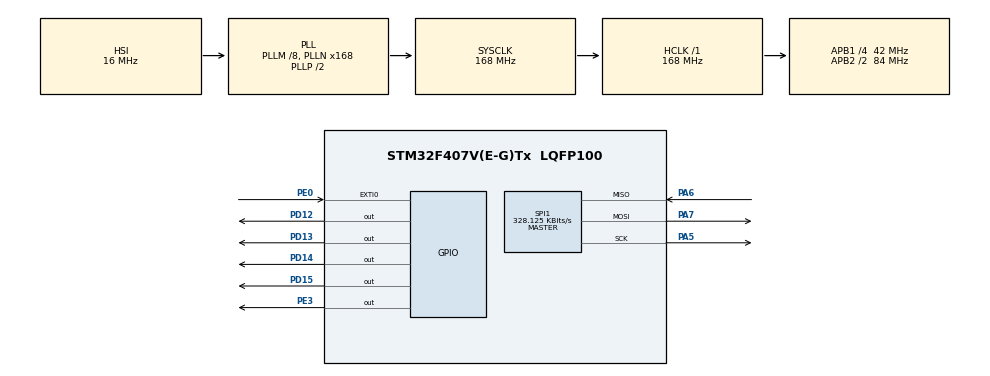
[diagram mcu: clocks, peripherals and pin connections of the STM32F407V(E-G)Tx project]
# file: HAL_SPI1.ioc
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Mcu.Family=STM32F4
Mcu.Name=STM32F407V(E-G)Tx
Mcu.Package=LQFP100
NVIC.EXTI0_IRQn=true\:0\:0\:false\:false\:false\:true
NVIC.PriorityGroup=NVIC_PRIORITYGROUP_4
PA5.Mode=Full_Duplex_Master
PA5.Signal=SPI1_SCK
PA6.Mode=Full_Duplex_Master
PA6.Signal=SPI1_MISO
PA7.Mode=Full_Duplex_Master
PA7.Signal=SPI1_MOSI
PD12.Signal=GPIO_Output
PD13.Signal=GPIO_Output
PD14.Signal=GPIO_Output
PD15.Signal=GPIO_Output
PE0.Signal=GPXTI0
PE3.Signal=GPIO_Output
ProjectManager.HeapSize=0x200
ProjectManager.StackSize=0x400
ProjectManager.TargetToolchain=MDK-ARM V5
RCC.48MHZClocksFreq_Value=84000000
RCC.AHBFreq_Value=168000000
RCC.APB1CLKDivider=RCC_HCLK_DIV4
RCC.APB1Freq_Value=42000000
RCC.APB1TimFreq_Value=84000000
RCC.APB2CLKDivider=RCC_HCLK_DIV2
RCC.APB2Freq_Value=84000000
RCC.APB2TimFreq_Value=168000000
RCC.CortexFreq_Value=168000000
RCC.HCLKFreq_Value=168000000
RCC.HSE_VALUE=25000000
RCC.HSI_VALUE=16000000
RCC.LSE_VALUE=32768
RCC.PLLM=8
RCC.PLLN=168
RCC.SYSCLKFreq_VALUE=168000000
RCC.SYSCLKSource=RCC_SYSCLKSOURCE_PLLCLK
RCC.VCOOutputFreq_Value=336000000
SPI1.BaudRatePrescaler=SPI_BAUDRATEPRESCALER_256
SPI1.CLKPhase=SPI_PHASE_2EDGE
SPI1.CLKPolarity=SPI_POLARITY_HIGH
SPI1.CalculateBaudRate=328.125 KBits/s
SPI1.DataSize=SPI_DATASIZE_8BIT
SPI1.Direction=SPI_DIRECTION_2LINES
SPI1.Mode=SPI_MODE_MASTER
SPI1.VirtualType=VM_MASTER
board=custom

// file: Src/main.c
/* USER CODE BEGIN Header */
/**
  ******************************************************************************
  * @file           : main.c
  * @brief          : Main program body
  ******************************************************************************
  ** This notice applies to any and all portions of this file
  * that are not between comment pairs USER CODE BEGIN and
  * USER CODE END. Other portions of this file, whether
  * inserted by the user or by software development tools
  * are owned by their respective copyright owners.
  *
  * COPYRIGHT(c) 2019 STMicroelectronics
  *
  * Redistribution and use in source and binary forms, with or without modification,
  * are permitted provided that the following conditions are met:
  *   1. Redistributions of source code must retain the above copyright notice,
  *      this list of conditions and the following disclaimer.
  *   2. Redistributions in binary form must reproduce the above copyright notice,
  *      this list of conditions and the following disclaimer in the documentation
  *      and/or other materials provided with the distribution.
  *   3. Neither the name of STMicroelectronics nor the names of its contributors
  *      may be used to endorse or promote products derived from this software
  *      without specific prior written permission.
  *
  * THIS SOFTWARE IS PROVIDED BY THE COPYRIGHT HOLDERS AND CONTRIBUTORS "AS IS"
  * AND ANY EXPRESS OR IMPLIED WARRANTIES, INCLUDING, BUT NOT LIMITED TO, THE
  * IMPLIED WARRANTIES OF MERCHANTABILITY AND FITNESS FOR A PARTICULAR PURPOSE ARE
  * DISCLAIMED. IN NO EVENT SHALL THE COPYRIGHT HOLDER OR CONTRIBUTORS BE LIABLE
  * FOR ANY DIRECT, INDIRECT, INCIDENTAL, SPECIAL, EXEMPLARY, OR CONSEQUENTIAL
  * DAMAGES (INCLUDING, BUT NOT LIMITED TO, PROCUREMENT OF SUBSTITUTE GOODS OR
  * SERVICES; LOSS OF USE, DATA, OR PROFITS; OR BUSINESS INTERRUPTION) HOWEVER
  * CAUSED AND ON ANY THEORY OF LIABILITY, WHETHER IN CONTRACT, STRICT LIABILITY,
  * OR TORT (INCLUDING NEGLIGENCE OR OTHERWISE) ARISING IN ANY WAY OUT OF THE USE
  * OF THIS SOFTWARE, EVEN IF ADVISED OF THE POSSIBILITY OF SUCH DAMAGE.
  *
  ******************************************************************************
  */
/* USER CODE END Header */

#include "main.h"

/* USER CODE BEGIN PD */
#define WHO_AM_I (0x0F)  // LIS3DSH register adresleri
#define CTRL_REG3 (0x23)
#define CTRL_REG4 (0x20)
#define CTRL_REG5 (0x24)
#define CTRL_REG6 (0x25)
#define FIFO_CTRL (0x2E)
#define OUT_X (0x29)
#define OUT_Y (0x2B)
#define OUT_Z (0x2D)
#define FIFO_SRC (0x2F)
#define INFO1 (0x0D)         // who_am_i gibi sabit degerli register.
/* USER CODE END PD */

SPI_HandleTypeDef hspi1;

int8_t x,y,z,t;
uint8_t status,status_1;

void SystemClock_Config(void);
static void MX_GPIO_Init(void);
static void MX_SPI1_Init(void);
/* USER CODE BEGIN PFP */
void SPI_LIS3DSH_Tx(uint8_t adr,uint8_t data)    //  7. bitin basina 0 degeri koyuyoruz ki okuma yapalim yani sadece adres degeri gidicek => WAAA AAAA       A=> Adres demek!  R=> Read W=>Write
{																																				     //Read için =>1 / Write için =>0 olmali MSB degeri.

HAL_GPIO_WritePin(GPIOE,GPIO_PIN_3,GPIO_PIN_RESET);  // Modulun CS pini haberlesmeyi baslatabilmesi çin Low yapiliyor.

HAL_SPI_Transmit(&hspi1,&adr,1,10); // &adr (Adresin bulundugu yerin adresini gönderdik.) , 1 byte , timeout (milisaniye)

HAL_SPI_Transmit(&hspi1,&data,1,10); // &data (adr'ye yazilacak olan data gönderilir.) , 1 byte , timeout (milisaniye)

HAL_GPIO_WritePin(GPIOE,GPIO_PIN_3,GPIO_PIN_SET);   // Yazma islemi gerçeklestigi için CS pini tekrar HIGH yapiliyor.

}

uint8_t SPI_LIS3DSH_Rx(uint8_t adr)
{

uint8_t rx=0;
adr|=0x80;  // 7. bitin basina 1 degeri koyuyoruz ki okuma yapalim  => RAAA AAAA    A=> Adres demek!  R=> Read W=>Write  |  Read için =>1 / Write için =>0 olmali MSB degeri.

HAL_GPIO_WritePin(GPIOE,GPIO_PIN_3,GPIO_PIN_RESET);   // Modulun CS pini haberlesmeyi baslatabilmesi çin LOW yapiliyor.

HAL_SPI_Transmit(&hspi1,&adr,1,10);       // &adr (Adresin bulundugu yerin adresini gönderdik.) , 1 byte , timeout (milisaniye)

HAL_SPI_Receive(&hspi1,&rx,1,10);      // &rx (rx'e adresten gelen deger kaydedilir.       // (gelen data rx'e yazilacak) , 1 byte , timeout (milisaniye)

HAL_GPIO_WritePin(GPIOE,GPIO_PIN_3,GPIO_PIN_SET);   // Yazma islemi gerçeklestigi için CS pini tekrar HIGH yapiliyor.

return rx;

}

void SPI_LIS3DSH_Init()
{

 SPI_LIS3DSH_Tx(CTRL_REG6,0x80);   // 0x80 yazilarak REBOOT(Yenidenbaslatma) YAPILDI.

 SPI_LIS3DSH_Tx(CTRL_REG3,1);  // 1 yazilarak yazilimsal reset atiliyor.

 HAL_Delay(100);

	if(SPI_LIS3DSH_Rx(INFO1)==0x21)     // haberlesmeyi test etmek için cevabi sabit olan who_am_i veya INFO adresi okunuyor.
	{
		SPI_LIS3DSH_Tx(CTRL_REG3,0x48);  // ctrl_reg3 adresine 0x48 degeri yazilarak Interrupt kutbu High yapiliyor ve INT1 pinin interrupt aktiflestirilmesi yapiliyor.

		SPI_LIS3DSH_Tx(CTRL_REG4,0x47); // ctrl_reg4 adresine 0x47 degeri yazilarak Çikis data ölçegi ayarlaniyor ve x,y,z, eksenleri aktiflestiriliyor.

		SPI_LIS3DSH_Tx(CTRL_REG5,0x48); // ctrl_reg5 adresine 0x48 degeri yazilarak tam ölçek secenegi ve filtre ayari yapiliyor.

		SPI_LIS3DSH_Tx(CTRL_REG6,0x64); // ctrl_reg6 adresine 0x64 degeri yazilarak FIFO ve FIFO derinligi ayarlanabildigi watermak secenegi aktiflestiriliyor.INT1 pini FIFO watermak interrupt secenegi aktiflestiriliyor

		SPI_LIS3DSH_Tx(FIFO_CTRL,0x41); // Fifo_ctrl adresine 0x41 degeri yazilarak FIFO akis modunda aktiflestiriliyor.
										//FIFO boyutu olan watermak degerine 1 giriliyor... Devami önemli KITAP=>556
                                     //		Stream mode. If the FIFO is full, the new sample overwrites the older one.
	}
}

/*  Bildigimiz üzere harici kesme herhangi bir pini(Bu özelligi olan pinler) High to low yada Low to high geçisini algilayarak olusturulan kesmeye denir.
    Bu pin logic konumda olmalidir.Ayarlarimiza göre bu pini lojik 0 dan lojik 1’E geçtigi anda kesme üretebilecek sekilde kontrol edebiliriz.
    Buton okuma islemi gibi düsünebiliriz ama butonu sürekli kontrol etmemize gerek yoktur çünkü herhangi bir geçiste otomatik kesme üretir
*/
void EXTI0_IRQHandler(void)    // INT1/DRDY' ye PE0 pini bagli tetikleme gelince pine interrupt üretecek!
{
	__HAL_GPIO_EXTI_CLEAR_IT(GPIO_PIN_0); //  ilgili bayragi temizledik.

	status= SPI_LIS3DSH_Rx(FIFO_SRC); // yorum idi

	x=SPI_LIS3DSH_Rx(OUT_X);

	y=SPI_LIS3DSH_Rx(OUT_Y);

	z=SPI_LIS3DSH_Rx(OUT_Z);

	 status_1=SPI_LIS3DSH_Rx(FIFO_SRC); // yorum idi

	if(x<-10) HAL_GPIO_WritePin(GPIOD,GPIO_PIN_12,GPIO_PIN_SET);
	else HAL_GPIO_WritePin(GPIOD,GPIO_PIN_12,GPIO_PIN_RESET);

	if(x>10) HAL_GPIO_WritePin(GPIOD,GPIO_PIN_14,GPIO_PIN_SET);
	else HAL_GPIO_WritePin(GPIOD,GPIO_PIN_14,GPIO_PIN_RESET);

	if(y<-10) HAL_GPIO_WritePin(GPIOD,GPIO_PIN_15,GPIO_PIN_SET);
	else HAL_GPIO_WritePin(GPIOD,GPIO_PIN_15,GPIO_PIN_RESET);

	if(y>10) HAL_GPIO_WritePin(GPIOD,GPIO_PIN_13,GPIO_PIN_SET);
	else HAL_GPIO_WritePin(GPIOD,GPIO_PIN_13,GPIO_PIN_RESET);

}
/* USER CODE END PFP */

int main(void)
{

  /* MCU Configuration--------------------------------------------------------*/

  /* Reset of all peripherals, Initializes the Flash interface and the Systick. */
  HAL_Init();

  /* Configure the system clock */
  SystemClock_Config();

  /* Initialize all configured peripherals */
  MX_GPIO_Init();
  MX_SPI1_Init();
  /* USER CODE BEGIN 2 */
 __HAL_SPI_ENABLE(&hspi1);      // Spi'i enable ettik.
  /* USER CODE END 2 */

   SPI_LIS3DSH_Init(); // Kitap'ta ayrintili bi anlatim var ozellikle watermark ile ilgili.*************************************************

   /*  	  *********************Sensoru baslattik ve Sonra  Who_Am_I' in adresini gönderip onun tuttugu degeri aldik: ****************************
								Baslatmadan yapinca hata verdi!

    SPI_LIS3DSH_Tx(CTRL_REG6,0x80);

	SPI_LIS3DSH_Tx(CTRL_REG3,1);

	HAL_Delay(100);

	t=SPI_LIS3DSH_Rx(WHO_AM_I);

	 ***************************************************************************************************
*/

  /* Infinite loop */
  while (1)
  {

  }
}

void SystemClock_Config(void)
{
  RCC_OscInitTypeDef RCC_OscInitStruct = {0};
  RCC_ClkInitTypeDef RCC_ClkInitStruct = {0};

  /**Configure the main internal regulator output voltage
  */
  __HAL_RCC_PWR_CLK_ENABLE();
  __HAL_PWR_VOLTAGESCALING_CONFIG(PWR_REGULATOR_VOLTAGE_SCALE1);
  /**Initializes the CPU, AHB and APB busses clocks
  */
  RCC_OscInitStruct.OscillatorType = RCC_OSCILLATORTYPE_HSI;
  RCC_OscInitStruct.HSIState = RCC_HSI_ON;
  RCC_OscInitStruct.HSICalibrationValue = RCC_HSICALIBRATION_DEFAULT;
  RCC_OscInitStruct.PLL.PLLState = RCC_PLL_ON;
  RCC_OscInitStruct.PLL.PLLSource = RCC_PLLSOURCE_HSI;
  RCC_OscInitStruct.PLL.PLLM = 8;
  RCC_OscInitStruct.PLL.PLLN = 168;
  RCC_OscInitStruct.PLL.PLLP = RCC_PLLP_DIV2;
  RCC_OscInitStruct.PLL.PLLQ = 4;
  if (HAL_RCC_OscConfig(&RCC_OscInitStruct) != HAL_OK)
  {
    Error_Handler();
  }
  /**Initializes the CPU, AHB and APB busses clocks
  */
  RCC_ClkInitStruct.ClockType = RCC_CLOCKTYPE_HCLK|RCC_CLOCKTYPE_SYSCLK
                              |RCC_CLOCKTYPE_PCLK1|RCC_CLOCKTYPE_PCLK2;
  RCC_ClkInitStruct.SYSCLKSource = RCC_SYSCLKSOURCE_PLLCLK;
  RCC_ClkInitStruct.AHBCLKDivider = RCC_SYSCLK_DIV1;
  RCC_ClkInitStruct.APB1CLKDivider = RCC_HCLK_DIV4;
  RCC_ClkInitStruct.APB2CLKDivider = RCC_HCLK_DIV2;

  if (HAL_RCC_ClockConfig(&RCC_ClkInitStruct, FLASH_LATENCY_5) != HAL_OK)
  {
    Error_Handler();
  }
}

static void MX_SPI1_Init(void)
{

  /* SPI1 parameter configuration*/
  hspi1.Instance = SPI1;
  hspi1.Init.Mode = SPI_MODE_MASTER;
  hspi1.Init.Direction = SPI_DIRECTION_2LINES;
  hspi1.Init.DataSize = SPI_DATASIZE_8BIT;
  hspi1.Init.CLKPolarity = SPI_POLARITY_HIGH;
  hspi1.Init.CLKPhase = SPI_PHASE_2EDGE;
  hspi1.Init.NSS = SPI_NSS_SOFT;
  hspi1.Init.BaudRatePrescaler = SPI_BAUDRATEPRESCALER_256;
  hspi1.Init.FirstBit = SPI_FIRSTBIT_MSB;
  hspi1.Init.TIMode = SPI_TIMODE_DISABLE;
  hspi1.Init.CRCCalculation = SPI_CRCCALCULATION_DISABLE;
  hspi1.Init.CRCPolynomial = 10;
  if (HAL_SPI_Init(&hspi1) != HAL_OK)
  {
    Error_Handler();
  }

}

static void MX_GPIO_Init(void)
{
  GPIO_InitTypeDef GPIO_InitStruct = {0};

  /* GPIO Ports Clock Enable */
  __HAL_RCC_GPIOE_CLK_ENABLE();
  __HAL_RCC_GPIOA_CLK_ENABLE();
  __HAL_RCC_GPIOD_CLK_ENABLE();

  /*Configure GPIO pin Output Level */
  HAL_GPIO_WritePin(GPIOE, GPIO_PIN_3, GPIO_PIN_RESET);

  /*Configure GPIO pin Output Level */
  HAL_GPIO_WritePin(GPIOD, GPIO_PIN_12|GPIO_PIN_13|GPIO_PIN_14|GPIO_PIN_15, GPIO_PIN_RESET);

  /*Configure GPIO pin : PE3 */
  GPIO_InitStruct.Pin = GPIO_PIN_3;
  GPIO_InitStruct.Mode = GPIO_MODE_OUTPUT_PP;
  GPIO_InitStruct.Pull = GPIO_NOPULL;
  GPIO_InitStruct.Speed = GPIO_SPEED_FREQ_LOW;
  HAL_GPIO_Init(GPIOE, &GPIO_InitStruct);

  /*Configure GPIO pins : PD12 PD14 PD15 */
  GPIO_InitStruct.Pin = GPIO_PIN_12|GPIO_PIN_13|GPIO_PIN_14|GPIO_PIN_15;
  GPIO_InitStruct.Mode = GPIO_MODE_OUTPUT_PP;
  GPIO_InitStruct.Pull = GPIO_NOPULL;
  GPIO_InitStruct.Speed = GPIO_SPEED_FREQ_LOW;
  HAL_GPIO_Init(GPIOD, &GPIO_InitStruct);

  /*Configure GPIO pin : PE0 */
  GPIO_InitStruct.Pin = GPIO_PIN_0;
  GPIO_InitStruct.Mode = GPIO_MODE_IT_RISING;
  GPIO_InitStruct.Pull = GPIO_NOPULL;
  HAL_GPIO_Init(GPIOE, &GPIO_InitStruct);

  /* EXTI interrupt init*/
  HAL_NVIC_SetPriority(EXTI0_IRQn, 0, 0);
  HAL_NVIC_EnableIRQ(EXTI0_IRQn);

}

void Error_Handler(void)
{
}

/************************ (C) COPYRIGHT STMicroelectronics *****END OF FILE****/
